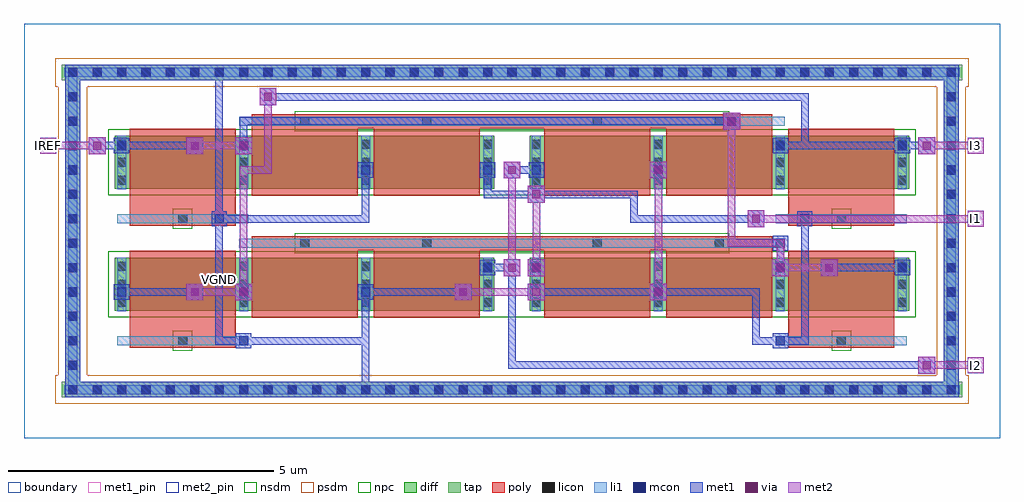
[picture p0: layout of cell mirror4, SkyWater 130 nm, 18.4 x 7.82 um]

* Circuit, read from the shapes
.subckt mirror4 I1 I2 I3 IREF VGND
XM1 I3 VGND I3 VGND sky130_fd_pr__nfet_01v8 w=1 l=2 m=2
XM2 IREF VGND IREF VGND sky130_fd_pr__nfet_01v8 w=1 l=2 m=2
XM3 VGND IREF I3 VGND sky130_fd_pr__nfet_01v8 w=1 l=2 m=2
XM4 VGND IREF IREF VGND sky130_fd_pr__nfet_01v8 w=1 l=2 m=2
XM5 I2 IREF VGND VGND sky130_fd_pr__nfet_01v8 w=1 l=2 m=2
XM6 I1 IREF VGND VGND sky130_fd_pr__nfet_01v8 w=1 l=2 m=2
.ends

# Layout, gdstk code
import gdstk
lib = gdstk.Library(unit=1e-6, precision=1e-09)
def R(c, l, rs):  # rectangles x0, y0, x1, y1
    for r in rs: c.add(gdstk.rectangle(r[:2], r[2:], *l))
def A(c, l, x, y, w, h, nx, ny, dx, dy):  # array of equal rectangles
    R(c, l, [(x+i*dx, y+j*dy, x+i*dx+w, y+j*dy+h) for i in range(nx) for j in range(ny)])
diff = (65, 20)
tap = (65, 44)
poly = (66, 20)
licon = (66, 44)
li1 = (67, 20)
mcon = (67, 44)
met1_pin = (68, 16)
met1 = (68, 20)
via = (68, 44)
met2_pin = (69, 16)
met2 = (69, 20)
nsdm = (93, 44)
psdm = (94, 20)
npc = (95, 20)
boundary = (235, 4)

mirror4 = lib.new_cell('mirror4')
R(mirror4, diff, [(1.715,2.405,8.865,3.405), (9.535,2.405,16.685,3.405), (1.715,4.705,8.865,5.705), (9.535,4.705,16.685,5.705)])
R(mirror4, tap, [(0.715,0.775,17.685,1.065), (0.775,0.775,1.065,7.045), (17.335,0.775,17.625,7.045), (0.715,6.755,17.685,7.045)])
R(mirror4, poly, [(1.99,1.705,3.99,1.975), (14.41,1.705,16.41,1.975), (1.99,1.84,3.99,3.535), (14.41,1.84,16.41,3.535), (4.29,2.275,6.29,3.68), (6.59,2.275,8.59,3.68), (9.81,2.275,11.81,3.68), (12.11,2.275,14.11,3.68), (4.29,3.545,14.11,3.815), (1.99,4.005,3.99,4.275), (14.41,4.005,16.41,4.275), (1.99,4.14,3.99,5.835), (14.41,4.14,16.41,5.835), (4.29,4.575,6.29,5.98), (6.59,4.575,8.59,5.98), (9.81,4.575,11.81,5.98), (12.11,4.575,14.11,5.98), (4.29,5.845,14.11,6.115)])
A(mirror4, licon, 0.835, 0.835, 0.17, 0.17, 37, 2, 0.46, 5.98)
A(mirror4, licon, 0.835, 1.295, 0.17, 0.17, 1, 12, 0, 0.46)
A(mirror4, licon, 17.395, 1.295, 0.17, 0.17, 1, 12, 0, 0.46)
A(mirror4, licon, 1.755, 2.48, 0.17, 0.17, 4, 3, 2.3, 0.34)
A(mirror4, licon, 9.575, 2.48, 0.17, 0.17, 4, 3, 2.3, 0.34)
A(mirror4, licon, 1.755, 4.78, 0.17, 0.17, 4, 3, 2.3, 0.34)
A(mirror4, licon, 9.575, 4.78, 0.17, 0.17, 4, 3, 2.3, 0.34)
R(mirror4, licon, [(2.905,1.755,3.075,1.925), (15.325,1.755,15.495,1.925), (5.205,3.595,5.375,3.765), (7.505,3.595,7.675,3.765), (10.725,3.595,10.895,3.765), (13.025,3.595,13.195,3.765), (2.905,4.055,3.075,4.225), (15.325,4.055,15.495,4.225), (5.205,5.895,5.375,6.065), (7.505,5.895,7.675,6.065), (10.725,5.895,10.895,6.065), (13.025,5.895,13.195,6.065)])
A(mirror4, li1, 1.755, 2.4, 0.17, 1.01, 4, 2, 2.3, 2.3)
A(mirror4, li1, 9.575, 2.4, 0.17, 1.01, 4, 2, 2.3, 2.3)
R(mirror4, li1, [(0.755,0.835,17.645,1.005), (0.835,0.835,1.005,6.985), (17.395,0.835,17.565,6.985), (1.755,1.755,4.225,1.925), (14.175,1.755,16.645,1.925), (4.055,3.595,14.345,3.765), (1.755,4.055,4.225,4.225), (14.175,4.055,16.645,4.225), (4.055,5.895,14.345,6.065), (0.755,6.815,17.645,6.985)])
A(mirror4, mcon, 0.835, 0.835, 0.17, 0.17, 37, 2, 0.46, 5.98)
A(mirror4, mcon, 0.835, 1.295, 0.17, 0.17, 1, 12, 0, 0.46)
A(mirror4, mcon, 17.395, 1.295, 0.17, 0.17, 1, 12, 0, 0.46)
A(mirror4, mcon, 1.755, 2.675, 0.17, 0.17, 3, 1, 2.3, 0)
R(mirror4, mcon, [(4.055,1.755,4.225,1.925), (14.175,1.755,14.345,1.925), (11.875,2.675,12.045,2.845), (8.655,3.135,8.825,3.305), (9.575,3.135,9.745,3.305), (14.175,3.135,14.345,3.305), (16.475,3.135,16.645,3.305), (14.175,3.595,14.345,3.765), (3.595,4.055,3.765,4.225), (14.635,4.055,14.805,4.225), (6.355,4.975,6.525,5.145), (8.655,4.975,8.825,5.145), (9.575,4.975,9.745,5.145), (11.875,4.975,12.045,5.145), (1.755,5.435,1.925,5.605), (4.055,5.435,4.225,5.605), (14.175,5.435,14.345,5.605), (16.475,5.435,16.645,5.605), (13.255,5.895,13.425,6.065)])
R(mirror4, met1_pin, [(3.61,1.77,3.75,4.21)])
A(mirror4, met1, 1.695, 2.615, 0.29, 0.29, 3, 1, 2.3, 0)
R(mirror4, met1, [(0.775,0.775,17.625,1.065), (0.775,0.775,1.065,7.045), (17.335,0.775,17.625,7.045), (6.37,0.85,6.51,2.83), (6.37,0.85,6.51,0.99), (16.86,1.22,17.18,1.54), (9.13,1.31,9.27,3.29), (9.13,1.31,17.09,1.45), (3.995,1.695,4.285,1.985), (14.115,1.695,14.405,1.985), (3.61,1.77,4.21,1.91), (3.61,1.77,3.75,4.21), (4.07,1.77,6.51,1.91), (13.73,1.77,14.33,1.91), (13.73,1.77,13.87,2.83), (14.19,1.77,14.79,1.91), (14.65,1.77,14.79,4.21), (3.06,2.6,3.38,2.92), (3.98,2.6,4.3,2.92), (8.12,2.6,8.44,2.92), (9.5,2.6,9.82,2.92), (11.8,2.6,12.12,2.92), (11.815,2.615,12.105,2.905), (1.77,2.69,3.29,2.83), (6.37,2.69,8.35,2.83), (9.59,2.69,12.03,2.83), (11.89,2.69,13.87,2.83), (9.04,3.06,9.36,3.38), (9.5,3.06,9.82,3.38), (14.1,3.06,14.42,3.38), (15.02,3.06,15.34,3.38), (8.595,3.075,8.885,3.365), (9.515,3.075,9.805,3.365), (14.115,3.075,14.405,3.365), (16.415,3.075,16.705,3.365), (8.67,3.15,9.27,3.29), (14.19,3.15,14.33,3.75), (15.11,3.15,16.63,3.29), (14.115,3.535,14.405,3.825), (13.64,3.98,13.96,4.3), (3.535,3.995,3.825,4.285), (14.575,3.995,14.865,4.285), (3.61,4.07,3.75,6.97), (3.61,4.07,6.51,4.21), (6.37,4.07,6.51,5.13), (11.43,4.07,11.57,4.67), (11.43,4.07,13.87,4.21), (9.5,4.44,9.82,4.76), (8.67,4.53,9.73,4.67), (8.67,4.53,8.81,5.13), (9.59,4.53,11.57,4.67), (9.04,4.9,9.36,5.22), (11.8,4.9,12.12,5.22), (6.295,4.915,6.585,5.205), (8.595,4.915,8.885,5.205), (9.515,4.915,9.805,5.205), (11.815,4.915,12.105,5.205), (9.13,4.99,9.73,5.13), (1.22,5.36,1.54,5.68), (3.06,5.36,3.38,5.68), (3.98,5.36,4.3,5.68), (16.86,5.36,17.18,5.68), (1.695,5.375,1.985,5.665), (3.995,5.375,4.285,5.665), (14.115,5.375,14.405,5.665), (16.415,5.375,16.705,5.665), (1.31,5.45,1.91,5.59), (1.77,5.45,3.29,5.59), (4.07,5.45,4.21,6.05), (14.19,5.45,14.79,5.59), (14.65,5.45,16.63,5.59), (14.65,5.45,14.79,6.51), (16.49,5.45,17.09,5.59), (13.18,5.82,13.5,6.14), (13.195,5.835,13.485,6.125), (4.07,5.91,13.41,6.05), (4.44,6.28,4.76,6.6), (4.53,6.37,14.79,6.51), (0.775,6.755,17.625,7.045), (3.61,6.83,3.75,6.97)])
R(mirror4, via, [(16.945,1.305,17.095,1.455), (3.145,2.685,3.295,2.835), (4.065,2.685,4.215,2.835), (8.205,2.685,8.355,2.835), (9.585,2.685,9.735,2.835), (11.885,2.685,12.035,2.835), (9.125,3.145,9.275,3.295), (9.585,3.145,9.735,3.295), (14.185,3.145,14.335,3.295), (15.105,3.145,15.255,3.295), (13.725,4.065,13.875,4.215), (9.585,4.525,9.735,4.675), (9.125,4.985,9.275,5.135), (11.885,4.985,12.035,5.135), (1.305,5.445,1.455,5.595), (3.145,5.445,3.295,5.595), (4.065,5.445,4.215,5.595), (16.945,5.445,17.095,5.595), (13.265,5.905,13.415,6.055), (4.525,6.365,4.675,6.515)])
R(mirror4, met2_pin, [(17.79,1.23,18.09,1.53), (17.79,3.99,18.09,4.29), (0.31,5.37,0.61,5.67), (17.79,5.37,18.09,5.67)])
R(mirror4, met2, [(16.86,1.22,17.18,1.54), (17.79,1.23,18.09,1.53), (16.95,1.31,18.01,1.45), (17.87,1.31,18.01,1.45), (3.06,2.6,3.38,2.92), (3.98,2.6,4.3,2.92), (8.12,2.6,8.44,2.92), (9.5,2.6,9.82,2.92), (11.8,2.6,12.12,2.92), (3.15,2.69,4.21,2.83), (4.07,2.69,4.21,5.13), (8.21,2.69,9.73,2.83), (11.89,2.69,12.03,5.13), (9.04,3.06,9.36,3.38), (9.5,3.06,9.82,3.38), (14.1,3.06,14.42,3.38), (15.02,3.06,15.34,3.38), (9.13,3.15,9.27,5.13), (9.59,3.15,9.73,4.67), (14.19,3.15,15.25,3.29), (14.19,3.15,14.33,3.75), (13.27,3.61,14.33,3.75), (13.27,3.61,13.41,6.05), (13.64,3.98,13.96,4.3), (17.79,3.99,18.09,4.29), (13.73,4.07,18.01,4.21), (17.87,4.07,18.01,4.21), (9.5,4.44,9.82,4.76), (9.04,4.9,9.36,5.22), (11.8,4.9,12.12,5.22), (4.07,4.99,4.67,5.13), (4.53,4.99,4.67,6.51), (1.22,5.36,1.54,5.68), (3.06,5.36,3.38,5.68), (3.98,5.36,4.3,5.68), (16.86,5.36,17.18,5.68), (0.31,5.37,0.61,5.67), (17.79,5.37,18.09,5.67), (0.39,5.45,0.53,5.59), (0.39,5.45,1.45,5.59), (3.15,5.45,4.21,5.59), (16.95,5.45,18.01,5.59), (17.87,5.45,18.01,5.59), (13.18,5.82,13.5,6.14), (4.44,6.28,4.76,6.6)])
R(mirror4, nsdm, [(1.59,2.28,16.81,3.53), (1.59,4.58,16.81,5.83)])
R(mirror4, psdm, [(0.59,0.65,17.81,1.19), (0.65,1.19,1.19,6.63), (17.21,1.19,17.75,6.63), (0.59,6.63,17.81,7.17)])
R(mirror4, npc, [(2.805,1.655,3.175,2.025), (15.225,1.655,15.595,2.025), (5.105,3.495,13.295,3.865), (2.805,3.955,3.175,4.325), (15.225,3.955,15.595,4.325), (5.105,5.795,13.295,6.165)])
R(mirror4, boundary, [(0,0,18.4,7.82)])
mirror4.add(gdstk.Label('VGND', (3.68,2.99), layer=68, texttype=5))
mirror4.add(gdstk.Label('IREF', (0.46,5.52), layer=69, texttype=5))
mirror4.add(gdstk.Label('I1', (17.94,4.14), layer=69, texttype=5))
mirror4.add(gdstk.Label('I2', (17.94,1.38), layer=69, texttype=5))
mirror4.add(gdstk.Label('I3', (17.94,5.52), layer=69, texttype=5))
mirror4.add(gdstk.Label('VGND', (3.68,2.99), layer=68, texttype=16))
mirror4.add(gdstk.Label('IREF', (0.46,5.52), layer=69, texttype=16))
mirror4.add(gdstk.Label('I1', (17.94,4.14), layer=69, texttype=16))
mirror4.add(gdstk.Label('I2', (17.94,1.38), layer=69, texttype=16))
mirror4.add(gdstk.Label('I3', (17.94,5.52), layer=69, texttype=16))

lib.write_gds('mirror4.gds')
